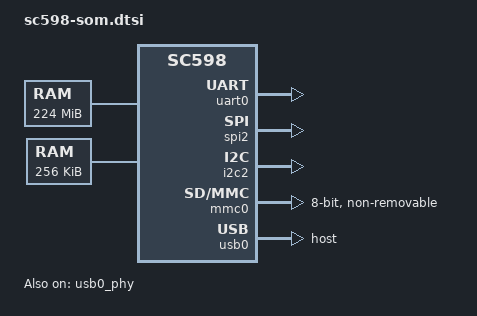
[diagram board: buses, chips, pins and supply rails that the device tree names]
/*
 * Copyright (c) 2021 Analog Devices Incorporated
 * Author: Nathan Barrett-Morrison <nathan.morrison@timesys.com>
 */

/dts-v1/;

#include <dt-bindings/gpio/gpio.h>
#include <dt-bindings/net/ti-dp83867.h>
#include <dt-bindings/pinctrl/adi,adsp-sc598-pinctrl.h>
#include <dt-bindings/pinctrl/adi-adsp-sru.h>
#include "sc59x-64.dtsi"

/ {
	chosen {
		stdout-path = &uart1;
	};

	memory@90000000 {
		device_type = "memory";
		reg = <0x90000000 0x0e000000>;
	};

	memory@20040000 {
		device_type = "memory";
		reg = <0x20040000 0x40000>;
	};

	reserved-memory {
		sram1_res: sram1-reserved@20040000 {
			compatible = "adi,sram-access";
			reg = <0x20040000 0x40000>;
		};

		vdev0vrings: vdev0vring0@20080000 {
			reg = <0x20080000 0x4000>;
			no-map;
		};

		vdev0buffer: vdev0buffer@20084000 {
			compatible = "shared-dma-pool";
			reg = <0x20084000 0x20000>;
			no-map;
		};

		vdev1vrings: vdev0vring0@200A4000 {
			reg = <0x200A4000 0x4000>;
			no-map;
		};

		vdev1buffer: vdev0buffer@200A8000 {
			compatible = "shared-dma-pool";
			reg = <0x200A8000 0x20000>;
			no-map;
		};
	};

	sram1_mmap: sram-mmap@0 {
		compatible = "adi,sram-mmap";
		memory-region = <&sram1_res>;
		status = "okay";
	};

	scb {
		sharc0: core1-rproc@28240000 {
			compatible = "adi,remoteproc";
			reg = <0x28240000 0x160000>,
					<0x20000000 0x200000>;
			core-id = <1>;
			firmware-name = "adi_adsp_core1_fw.ldr";
			interrupts = <GIC_SPI 337 IRQ_TYPE_EDGE_RISING>; /* TRU0_SLV3 */
			adi,svect = <&rcu 0x30>;
			resets = <&rcu 1 0>, <&rcu 1 1>;
			reset-names = "crst", "start";
			mboxes = <&tru 135>; /* trigger master SOFT4 */
			mbox-names = "kick";
			adi,l1-da = <0x240000 0x3a0000>;
			adi,l2-da = <0x20000000 0x20200000>;
			adi,rsc-table = <&rsc_tbl0>;
			adi,verify = <1>;
			status = "okay";
		};

		sharc1: core2-rproc@28a40000 {
			compatible = "adi,remoteproc";
			reg = <0x28a40000 0x160000>,
					<0x20000000 0x200000>;
			core-id = <2>;
			firmware-name = "adi_adsp_core2_fw.ldr";
			interrupts = <GIC_SPI 337 IRQ_TYPE_EDGE_RISING>; /* TRU0_SLV3 */
			adi,svect = <&rcu 0x34>;
			resets = <&rcu 2 0>, <&rcu 2 1>;
			reset-names = "crst", "start";
			mboxes = <&tru 136>; /* trigger master SOFT5 */
			mbox-names = "kick";
			adi,l1-da = <0x240000 0x3a0000>;
			adi,l2-da = <0x20000000 0x20200000>;
			adi,rsc-table = <&rsc_tbl1>;
			adi,verify = <1>;
			status = "okay";
		};

		sharc0_rpmsg: core0-rpmsg@28240000 {
				status = "disabled";
				compatible = "adi,rpmsg-sc598";
				core-id = <1>;
				adi,rcu = <&rcu>;
				adi,check-idle;
				adi,rsc-table = <&rsc_tbl0>;
				interrupts = <GIC_SPI 337 IRQ_TYPE_EDGE_RISING>; /* TRU0_SLV3 */
				adi,tru = <&tru>;
				adi,tru-master-id = <135>; /* trigger master SOFT4 */
				vdev-vring = <&vdev0vrings>;
				memory-region = <&vdev0buffer>;
		};

		sharc1_rpmsg: core1-rpmsg@28a40000 {
				status = "disabled";
				compatible = "adi,rpmsg-sc598";
				core-id = <2>;
				adi,rcu = <&rcu>;
				adi,check-idle;
				adi,rsc-table = <&rsc_tbl1>;
				interrupts = <GIC_SPI 337 IRQ_TYPE_EDGE_RISING>; /* TRU0_SLV3 */
				adi,tru = <&tru>;
				adi,tru-master-id = <136>; /* trigger master SOFT5 */
				vdev-vring = <&vdev1vrings>;
				memory-region = <&vdev1buffer>;
		};
	};

};

&tru {
	rpmsg_to_a55: channel@0 {
		adi,tru-master-id = <134>; /* trigger master SOFT3 */
		adi,tru-slave-id = <160>; /* TRU0_IRQ3 */
	};
	rpmsg_to_sharc0: channel@1 {
		adi,tru-master-id = <135>; /* trigger master SOFT4 */
		adi,tru-slave-id = <164>; /* TRU0_IRQ7 */
	};
	rpmsg_to_sharc1: channel@2 {
		adi,tru-master-id = <136>; /* trigger master SOFT5 */
		adi,tru-slave-id = <168>; /* TRU0_IRQ11 */
	};
};

&thermal {
	status = "okay";
	adi,trip-alert = <60>;
	adi,trip-fault = <85>;
	/* adi,average; */
};

&uart0 {
	/* enable-pin = <&som_gpio_expander 5 GPIO_ACTIVE_LOW>;	 UART0_EN */
	/* hwflow-en-pin = <&som_gpio_expander 6 GPIO_ACTIVE_LOW>;  UART0_FLOW_EN */
	pinctrl-names = "default";
	pinctrl-0 = <&uart0_default>;
	status = "okay";
};

&spi0 {
	pinctrl-names = "default";
	pinctrl-0 = <&spi0_default>;
	status = "disabled";

	spidev@9{
		compatible = "adi,generic-spidev";
		reg = <9>;  // SPI0_SSEL1 / GPIO_PA9
		spi-max-frequency = <4000000>;
	};
};

&spi1 {
	pinctrl-names = "default";
	pinctrl-0 = <&spi1_default>;
	status = "disabled";
	cs-gpios = <&gpa 13 GPIO_ACTIVE_LOW>;

	spidev@0 {
		compatible = "adi,generic-spidev";
		reg = <0>;
		spi-max-frequency = <4000000>;
	};
};

&spi3 {
	pinctrl-names = "default";
	pinctrl-0 = <&spi3_default>;
	status = "disabled";
	cs-gpios = <&gpg 15 GPIO_ACTIVE_LOW>;

	spidev@0 {
		compatible = "adi,generic-spidev";
		reg = <0>;
		spi-max-frequency = <4000000>;
	};
};

&spi2 {
	pinctrl-names = "default";
	pinctrl-0 = <&spi2_quad>;
	status = "okay";
};

&i2c2 {
	status = "okay";
	pinctrl-names = "default";
	pinctrl-0 = <&i2c2_pins>;
};

&mmc0{
	pinctrl-names = "default";
	pinctrl-0 = <&mmc0_8bgrp>;
	bus-width = <8>;
	max-frequency = <50000000>;
	non-removable;
	status = "okay";
};

&usb0_phy {
	reset-gpios = <&gpg 11 GPIO_ACTIVE_LOW>;
	status = "okay";
};

&usb0 {
	dr_mode = "host";
	pinctrl-names = "default";
	pinctrl-0 = <&usbc0_default>;
	status = "okay";
};

&pinctrl {
	uart0_default: uart0-default-pins {
		pinmux = <SC598_PA06__UART0_TX
			  SC598_PA07__UART0_RX>;
	};

	uart0_hwflow: uart0-hwflow-pins {
		pinmux = <SC598_PA06__UART0_TX
			  SC598_PA07__UART0_RX
			  SC598_PA08__UART0_RTS
			  SC598_PA09__UART0_CTS>;
	};

	spi0_default: spi0-default-pins {
		pinmux = <SC598_PA06__SPI0_CLK
			  SC598_PA07__SPI0_MISO
			  SC598_PA08__SPI0_MOSI>;
	};

	spi1_default: spi1-default-pins {
		pinmux = <SC598_PA10__SPI1_CLK
			  SC598_PA11__SPI1_MISO
			  SC598_PA12__SPI1_MOSI>;
	};

	spi2_quad: spi2-quad-pins {
		pinmux = <SC598_PA00__SPI2_MISO
			  SC598_PA01__SPI2_MOSI
			  SC598_PA02__SPI2_D2
			  SC598_PA03__SPI2_D3
			  SC598_PA04__SPI2_CLK
			  SC598_PA05__SPI2_SEL1>;
	};

	spi3_default: spi3-default-pins {
		pinmux = <SC598_PG05__SPI3_CLK
			  SC598_PG06__SPI3_MISO
			  SC598_PG07__SPI3_MOSI>;
	};

	ospi_default: ospi-default-pins {
		pinmux = <SC598_PA00__OSPI0_MISO
			  SC598_PA01__OSPI0_MOSI
			  SC598_PA02__OSPI0_D2
			  SC598_PA03__OSPI0_D3
			  SC598_PA04__OSPI0_CLK
			  SC598_PA05__OSPI0_SEL1
			  SC598_PA06__OSPI0_D4
			  SC598_PA07__OSPI0_D5
			  SC598_PA08__OSPI0_D6
			  SC598_PA09__OSPI0_D7
			  SC598_PD04__OSPI0_DQS>;
	};

	i2c2_pins: i2c2-default-pins {
		pinmux = <SC598_PA14__TWI2_SCL
			  SC598_PA15__TWI2_SDA>;
	};

	eth0_default: eth0-default-pins {
		pinmux = <SC598_PH03__ETH0_MDC
			  SC598_PH04__ETH0_MDIO
			  SC598_PH05__ETH0_RXD0
			  SC598_PH06__ETH0_RXD1
			  SC598_PH07__ETH0_RXCLK_REFCLK
			  SC598_PH08__ETH0_RXCTL_RXDV
			  SC598_PH09__ETH0_TXD0
			  SC598_PH10__ETH0_TXD1
			  SC598_PH11__ETH0_RXD2
			  SC598_PH12__ETH0_RXD3
			  SC598_PH13__ETH0_TXCTL_TXEN
			  SC598_PH14__ETH0_TXCLK
			  SC598_PH15__ETH0_TXD2
			  SC598_PI00__ETH0_TXD3>;
	};

	eth1_default: eth1-default-pins {
		pinmux = <SC598_PE11__ETH1_REFCLK
			  SC598_PE12__ETH1_TXEN
			  SC598_PE13__ETH1_TXD0
			  SC598_PE14__ETH1_TXD1
			  SC598_PE15__ETH1_RXD0
			  SC598_PF00__ETH1_RXD1
			  SC598_PF01__ETH1_MDIO
			  SC598_PF02__ETH1_MDC
			  SC598_PF03__ETH1_CRS>;
	};

	mmc0_8bgrp: mmc0-8bgrp-pins {
		pinmux = <SC598_PD15__EMSI0_D0
			  SC598_PB15__EMSI0_CD
			  SC598_PC04__EMSI0_RST
			  SC598_PC06__EMSI0_WP
			  SC598_PE01__EMSI0_D1
			  SC598_PE06__EMSI0_D2
			  SC598_PE08__EMSI0_D3
			  SC598_PE09__EMSI0_CLK
			  SC598_PG01__EMSI0_CMD
			  SC598_PG02__EMSI0_D4
			  SC598_PG08__EMSI0_D5
			  SC598_PG09__EMSI0_D6
			  SC598_PG10__EMSI0_D7
			  SC598_PI06__EMSI0_LED_CONTROL>;
	};

	usbc0_default: usbc0-default-pins {
		pinmux = <SC598_PF03__USBC0_STOP
			  SC598_PF04__USBC0_DATA7
			  SC598_PF05__USBC0_DATA6
			  SC598_PF06__USBC0_DATA5
			  SC598_PF07__USBC0_DATA4
			  SC598_PF08__USBC0_NXT
			  SC598_PF09__USBC0_DIR
			  SC598_PF10__USBC0_DATA3
			  SC598_PF11__USBC0_DATA2
			  SC598_PF12__USBC0_DATA1
			  SC598_PF13__USBC0_DATA0
			  SC598_PF14__USBC0_CLK>;
	};
};
